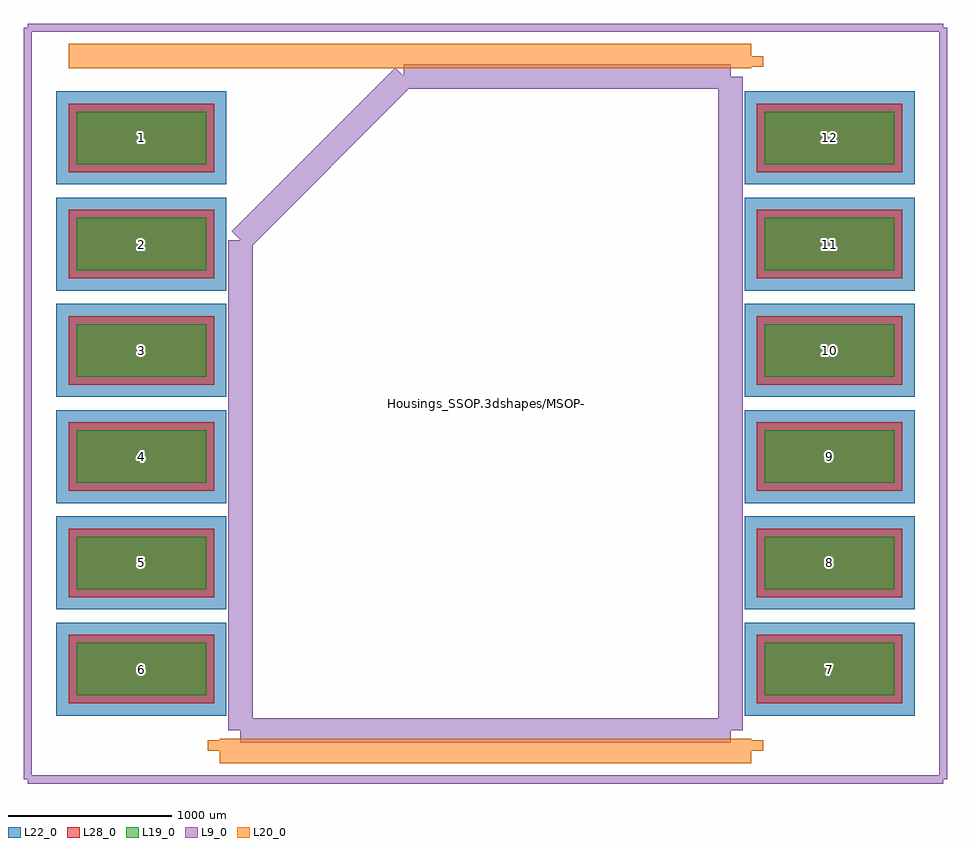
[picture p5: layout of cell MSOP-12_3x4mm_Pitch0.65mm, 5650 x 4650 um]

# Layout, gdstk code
import gdstk
lib = gdstk.Library(unit=1e-6, precision=1e-09)
def R(c, l, rs):  # rectangles x0, y0, x1, y1
    for r in rs: c.add(gdstk.rectangle(r[:2], r[2:], *l))
def A(c, l, x, y, w, h, nx, ny, dx, dy):  # array of equal rectangles
    R(c, l, [(x+i*dx, y+j*dy, x+i*dx+w, y+j*dy+h) for i in range(nx) for j in range(ny)])
L9_0 = (9, 0)
L19_0 = (19, 0)
L20_0 = (20, 0)
L22_0 = (22, 0)
L28_0 = (28, 0)

msop_12_3x4mm_pitch0_65m = lib.new_cell('MSOP-12_3x4mm_Pitch0.65mm')
A(msop_12_3x4mm_pitch0_65m, L19_0, -2500, -1785, 790, 320, 1, 6, 0, 650)
A(msop_12_3x4mm_pitch0_65m, L19_0, 1710, -1785, 790, 320, 1, 6, 0, 650)
A(msop_12_3x4mm_pitch0_65m, L22_0, -2625, -1910, 1040, 570, 1, 6, 0, 650)
A(msop_12_3x4mm_pitch0_65m, L22_0, 1585, -1910, 1040, 570, 1, 6, 0, 650)
A(msop_12_3x4mm_pitch0_65m, L28_0, -2550, -1835, 890, 420, 1, 6, 0, 650)
A(msop_12_3x4mm_pitch0_65m, L28_0, 1660, -1835, 890, 420, 1, 6, 0, 650)
msop_12_3x4mm_pitch0_65m.add(gdstk.FlexPath([(-1625,2125),(-2550,2125)], 149.998, ends="flush", simple_path=True, layer=20, datatype=0))  # L20_0
msop_12_3x4mm_pitch0_65m.add(gdstk.FlexPath([(-1625,-2125),(1625,-2125)], 149.998, ends="flush", simple_path=True, layer=20, datatype=0))  # L20_0
msop_12_3x4mm_pitch0_65m.add(gdstk.FlexPath([(-1625,2125),(1625,2125)], 149.998, ends="flush", simple_path=True, layer=20, datatype=0))  # L20_0
msop_12_3x4mm_pitch0_65m.add(gdstk.FlexPath([(-1625,-2125),(-1625,-2060)], 149.998, ends="flush", simple_path=True, layer=20, datatype=0))  # L20_0
msop_12_3x4mm_pitch0_65m.add(gdstk.FlexPath([(1625,-2125),(1625,-2060)], 149.998, ends="flush", simple_path=True, layer=20, datatype=0))  # L20_0
msop_12_3x4mm_pitch0_65m.add(gdstk.FlexPath([(1625,2125),(1625,2060)], 149.998, ends="flush", simple_path=True, layer=20, datatype=0))  # L20_0
msop_12_3x4mm_pitch0_65m.add(gdstk.FlexPath([(-2800,-2300),(2800,-2300)], 50, ends="flush", simple_path=True, layer=9, datatype=0))  # L9_0
msop_12_3x4mm_pitch0_65m.add(gdstk.FlexPath([(-2800,2300),(2800,2300)], 50, ends="flush", simple_path=True, layer=9, datatype=0))  # L9_0
msop_12_3x4mm_pitch0_65m.add(gdstk.FlexPath([(2800,2300),(2800,-2300)], 50, ends="flush", simple_path=True, layer=9, datatype=0))  # L9_0
msop_12_3x4mm_pitch0_65m.add(gdstk.FlexPath([(-2800,2300),(-2800,-2300)], 50, ends="flush", simple_path=True, layer=9, datatype=0))  # L9_0
msop_12_3x4mm_pitch0_65m.add(gdstk.FlexPath([(-1500,1000),(-500,2000)], 149.998, ends="flush", simple_path=True, layer=9, datatype=0))  # L9_0
msop_12_3x4mm_pitch0_65m.add(gdstk.FlexPath([(-1500,-2000),(-1500,1000)], 149.998, ends="flush", simple_path=True, layer=9, datatype=0))  # L9_0
msop_12_3x4mm_pitch0_65m.add(gdstk.FlexPath([(1500,-2000),(-1500,-2000)], 149.998, ends="flush", simple_path=True, layer=9, datatype=0))  # L9_0
msop_12_3x4mm_pitch0_65m.add(gdstk.FlexPath([(1500,2000),(1500,-2000)], 149.998, ends="flush", simple_path=True, layer=9, datatype=0))  # L9_0
msop_12_3x4mm_pitch0_65m.add(gdstk.FlexPath([(-500,2000),(1500,2000)], 149.998, ends="flush", simple_path=True, layer=9, datatype=0))  # L9_0
msop_12_3x4mm_pitch0_65m.add(gdstk.Label('Housings_SSOP.3dshapes/MSOP-12_3x4mm_Pitch0.65mm.wrl', (0,0), layer=12, texttype=0))
msop_12_3x4mm_pitch0_65m.add(gdstk.Label('12', (2105,1625), layer=28, texttype=0))
msop_12_3x4mm_pitch0_65m.add(gdstk.Label('11', (2105,975), layer=28, texttype=0))
msop_12_3x4mm_pitch0_65m.add(gdstk.Label('10', (2105,325), layer=28, texttype=0))
msop_12_3x4mm_pitch0_65m.add(gdstk.Label('9', (2105,-325), layer=28, texttype=0))
msop_12_3x4mm_pitch0_65m.add(gdstk.Label('8', (2105,-975), layer=28, texttype=0))
msop_12_3x4mm_pitch0_65m.add(gdstk.Label('7', (2105,-1625), layer=28, texttype=0))
msop_12_3x4mm_pitch0_65m.add(gdstk.Label('6', (-2105,-1625), layer=28, texttype=0))
msop_12_3x4mm_pitch0_65m.add(gdstk.Label('5', (-2105,-975), layer=28, texttype=0))
msop_12_3x4mm_pitch0_65m.add(gdstk.Label('4', (-2105,-325), layer=28, texttype=0))
msop_12_3x4mm_pitch0_65m.add(gdstk.Label('3', (-2105,325), layer=28, texttype=0))
msop_12_3x4mm_pitch0_65m.add(gdstk.Label('2', (-2105,975), layer=28, texttype=0))
msop_12_3x4mm_pitch0_65m.add(gdstk.Label('1', (-2105,1625), layer=28, texttype=0))
msop_12_3x4mm_pitch0_65m.add(gdstk.Label('type', (0,-3050), layer=9, texttype=0))
msop_12_3x4mm_pitch0_65m.add(gdstk.Label('devicename', (0,3050), layer=9, texttype=0))

lib.write_gds('MSOP-12_3x4mm_Pitch0.65mm.gds')
